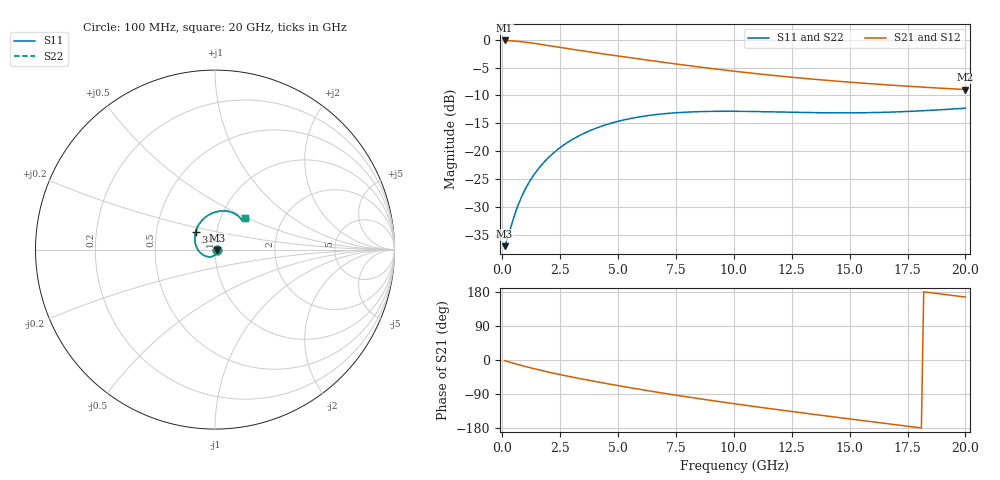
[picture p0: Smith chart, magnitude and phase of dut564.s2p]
! Touchstone file exported from HFSS 2024.1.0
!  File:  C:/UserFiles/LocalFiles/RDL_TSV_Batchsim/temp_RDL_TSV_564_1779752866.aedt
!  Generated:  08:02:32 AM May 26, 2026
!  Design:  RDL_TSV
!  Project:  temp_RDL_TSV_564_1779752866
!  Setup:  Setup1
!  Solution:  Sweep
! Variables:
!  dtsv = 11.66um
!  hbump = 3um
!  htsv = 94.98um
!  ldown = 390.63um
!  lrdl = 325.25um
!  p = 40
!  p1 = 43.99um
!  rhole = 10um
!  subl = 2472.89um
!  t = 450um
!  tdown = 4.06um
!  trdl = 2.41um
!  viad = 10um
!  wdown = 21.45um
!  wrdl = 24.63um
!  xbump = 18um
# GHz S MA R 50.000000
! Terminal data exported
! Port[1] = TM1_1_T1
! Port[2] = TM1_4_T1
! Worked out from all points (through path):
!   200 points, 100 MHz to 20 GHz, reference 50 ohm
!   highest |S21| = -0.12 dB at 100 MHz (marker M1); lowest = -8.9 dB at 20 GHz (marker M2)
!   group delay of S21, straight-line fit = 25.4 ps
!   lowest |S11| = -37.0 dB at 100 MHz (marker M3), VSWR 1.03, Z = 51.3 - j0.503 ohm
!   |S11| at or under -10 dB: start of sweep to end of sweep
!   |S22| runs from -37.0 to -12.3 dB; largest |S21 - S12| = 1.1e-14
!   S11 on the Smith chart (normalised r, x): 100 MHz: 1.03, -0.01; 3.6 GHz: 0.79, +0.16; 20 GHz: 1.30, +0.48
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0.1  0.01406 -20.4  0.986 -1.8  0.986 -1.8  0.01406 -20.4
! Gamma 0 0 0 0
! Port Impedance 50 0 50 0
0.2  0.01591 -38.8  0.9843 -3.6  0.9843 -3.6  0.01591 -38.8
0.6  0.02947 -89.3  0.9713 -10.6  0.9713 -10.6  0.02948 -89.3
0.8  0.0376 -106.3  0.9621 -14.0  0.9621 -14.0  0.0376 -106.2
1.1  0.05019 -127.0  0.9455 -18.8  0.9455 -18.8  0.05019 -127.0
1.4  0.06288 -144.2  0.9267 -23.4  0.9267 -23.4  0.06288 -144.2
1.8  0.07964 -163.8  0.9 -29.2  0.9 -29.2  0.07964 -163.8
2.3  0.09996 175.9  0.8665 -36.0  0.8665 -36.0  0.09996 175.9
2.9  0.1229 155.8  0.8285 -43.6  0.8285 -43.6  0.1229 155.9
3.5  0.1439 139.3  0.7934 -50.8  0.7934 -50.8  0.1438 139.4
3.6  0.1471 136.9  0.7877 -52.0  0.7877 -52.0  0.1471 136.9
4.3  0.1681 121.4  0.7502 -60.0  0.7502 -60.0  0.1681 121.4
5.1  0.1877 106.9  0.7104 -68.7  0.7104 -68.7  0.1877 106.9
5.9  0.2029 94.9  0.6733 -77.1  0.6733 -77.1  0.2029 94.9
6.8  0.215 83.8  0.6345 -86.1  0.6345 -86.1  0.215 83.9
8.4  0.2261 68.9  0.5736 -101.2  0.5736 -101.2  0.2261 68.9
10.1  0.2281 58.1  0.5198 -116.1  0.5198 -116.1  0.2281 58.2
11.7  0.2254 51.7  0.4787 -129.4  0.4787 -129.4  0.2254 51.7
13.4  0.222 47.9  0.4434 -143.0  0.4434 -143.0  0.2219 47.9
15  0.2209 46.4  0.4164 -155.5  0.4164 -155.5  0.2209 46.5
16.7  0.2241 46.1  0.3929 -168.6  0.3929 -168.6  0.224 46.2
20  0.2432 46.0  0.3574 166.2  0.3574 166.2  0.2431 46.0
